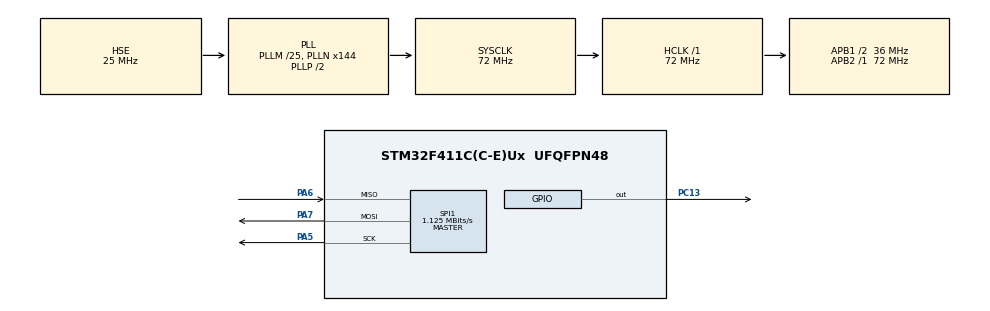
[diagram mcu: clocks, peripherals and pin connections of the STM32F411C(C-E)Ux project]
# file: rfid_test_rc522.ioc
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Mcu.Family=STM32F4
Mcu.Name=STM32F411C(C-E)Ux
Mcu.Package=UFQFPN48
NVIC.PriorityGroup=NVIC_PRIORITYGROUP_4
NVIC.SPI1_IRQn=true\:0\:0\:false\:false\:true\:true\:true\:true
NVIC.TIM2_IRQn=true\:0\:0\:false\:false\:true\:true\:true\:true
PA13.Mode=Serial_Wire
PA13.Signal=SYS_JTMS-SWDIO
PA14.Mode=Serial_Wire
PA14.Signal=SYS_JTCK-SWCLK
PA4.Signal=SPI1_NSS
PA5.Mode=Full_Duplex_Master
PA5.Signal=SPI1_SCK
PA6.Mode=Full_Duplex_Master
PA6.Signal=SPI1_MISO
PA7.Mode=Full_Duplex_Master
PA7.Signal=SPI1_MOSI
PC13-ANTI_TAMP.Signal=GPIO_Output
PH0\ -\ OSC_IN.Mode=HSE-External-Oscillator
PH0\ -\ OSC_IN.Signal=RCC_OSC_IN
PH1\ -\ OSC_OUT.Mode=HSE-External-Oscillator
PH1\ -\ OSC_OUT.Signal=RCC_OSC_OUT
ProjectManager.HeapSize=0x200
ProjectManager.StackSize=0x400
ProjectManager.TargetToolchain=STM32CubeIDE
RCC.48MHZClocksFreq_Value=36000000
RCC.AHBFreq_Value=72000000
RCC.APB1CLKDivider=RCC_HCLK_DIV2
RCC.APB1Freq_Value=36000000
RCC.APB1TimFreq_Value=72000000
RCC.APB2Freq_Value=72000000
RCC.APB2TimFreq_Value=72000000
RCC.CortexFreq_Value=72000000
RCC.HCLKFreq_Value=72000000
RCC.HSE_VALUE=25000000
RCC.HSI_VALUE=16000000
RCC.LSE_VALUE=32768
RCC.PLLM=25
RCC.PLLN=144
RCC.PLLSourceVirtual=RCC_PLLSOURCE_HSE
RCC.SYSCLKFreq_VALUE=72000000
RCC.SYSCLKSource=RCC_SYSCLKSOURCE_PLLCLK
RCC.VCOOutputFreq_Value=144000000
SPI1.BaudRatePrescaler=SPI_BAUDRATEPRESCALER_64
SPI1.CalculateBaudRate=1.125 MBits/s
SPI1.Direction=SPI_DIRECTION_2LINES
SPI1.FirstBit=SPI_FIRSTBIT_MSB
SPI1.Mode=SPI_MODE_MASTER
SPI1.VirtualType=VM_MASTER
TIM2.Period=1999
TIM2.Prescaler=720
VP_TIM2_VS_ClockSourceINT.Mode=Internal
board=custom

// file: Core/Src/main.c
/* USER CODE BEGIN Header */
/**
  ******************************************************************************
  * @file           : main.c
  * @brief          : Main program body
  ******************************************************************************
  * @attention
  *
  * Copyright (c) 2023 STMicroelectronics.
  * All rights reserved.
  *
  * This software is licensed under terms that can be found in the LICENSE file
  * in the root directory of this software component.
  * If no LICENSE file comes with this software, it is provided AS-IS.
  *
  ******************************************************************************
  */
/* USER CODE END Header */
#include "main.h"

/* USER CODE BEGIN Includes */
#include "stm32f4xx_hal.h"
#include "tm_stm32f4_mfrc522.h"
/* USER CODE END Includes */

SPI_HandleTypeDef hspi1;

TIM_HandleTypeDef htim2;

/* USER CODE BEGIN PV */

uint8_t dataUDP_permit[]="Ma the hop le ";
uint8_t dataUDP_deny[]="Ma the khong hop le ";
unsigned char CardID[5];
unsigned char MyID1[5] =  {0x96, 0x46, 0x38, 0x12, 0xfa};	//My card 1on my keys
unsigned char MyID2[5] =  {0x88, 0x04, 0xfa, 0xef, 0x99};	//My card 2on my keys
unsigned char MyID3[5] =  {0xea, 0x2b, 0x26, 0xa3, 0x44};	//My card 3on my keys
unsigned char MyID[5] =  {0x3b, 0x48, 0x36, 0xcc, 0x89};	//My card 4on my keys

uint8_t status;

uint8_t MFRC522_Check(uint8_t* id);
uint8_t MFRC522_Compare(uint8_t* CardID, uint8_t* CompareID);
void MFRC522_WriteRegister(uint8_t addr, uint8_t val);
uint8_t MFRC522_ReadRegister(uint8_t addr);
void MFRC522_SetBitMask(uint8_t reg, uint8_t mask);
void MFRC522_ClearBitMask(uint8_t reg, uint8_t mask);
uint8_t MFRC522_Request(uint8_t reqMode, uint8_t* TagType);
uint8_t MFRC522_ToCard(uint8_t command, uint8_t* sendData, uint8_t sendLen, uint8_t* backData, uint16_t* backLen);
uint8_t MFRC522_Anticoll(uint8_t* serNum);
void MFRC522_CalulateCRC(uint8_t* pIndata, uint8_t len, uint8_t* pOutData);
uint8_t MFRC522_SelectTag(uint8_t* serNum);
uint8_t MFRC522_Auth(uint8_t authMode, uint8_t BlockAddr, uint8_t* Sectorkey, uint8_t* serNum);
uint8_t MFRC522_Read(uint8_t blockAddr, uint8_t* recvData);
uint8_t MFRC522_Write(uint8_t blockAddr, uint8_t* writeData);
void MFRC522_Init(void);
void MFRC522_Reset(void);
void MFRC522_AntennaOn(void);
void MFRC522_AntennaOff(void);
void MFRC522_Halt(void);

/* USER CODE END PV */

void SystemClock_Config(void);
static void MX_GPIO_Init(void);
static void MX_SPI1_Init(void);
static void MX_TIM2_Init(void);

int main(void)
{

  /* MCU Configuration--------------------------------------------------------*/

  /* Reset of all peripherals, Initializes the Flash interface and the Systick. */
  HAL_Init();

  /* Configure the system clock */
  SystemClock_Config();

  /* Initialize all configured peripherals */
  MX_GPIO_Init();
  MX_SPI1_Init();
  MX_TIM2_Init();
  /* USER CODE BEGIN 2 */
  MFRC522_Init();

  HAL_Delay(1000);

  /* USER CODE END 2 */

  /* Infinite loop */
  /* USER CODE BEGIN WHILE */

  while (1)
  {
	  status = MFRC522_Check(CardID);
	  HAL_Delay(100);
	  HAL_GPIO_TogglePin(GPIOC, GPIO_PIN_13);

    /* USER CODE END WHILE */

  }
}

void SystemClock_Config(void)
{
  RCC_OscInitTypeDef RCC_OscInitStruct = {0};
  RCC_ClkInitTypeDef RCC_ClkInitStruct = {0};

  /** Configure the main internal regulator output voltage
  */
  __HAL_RCC_PWR_CLK_ENABLE();
  __HAL_PWR_VOLTAGESCALING_CONFIG(PWR_REGULATOR_VOLTAGE_SCALE1);

  /** Initializes the RCC Oscillators according to the specified parameters
  * in the RCC_OscInitTypeDef structure.
  */
  RCC_OscInitStruct.OscillatorType = RCC_OSCILLATORTYPE_HSE;
  RCC_OscInitStruct.HSEState = RCC_HSE_ON;
  RCC_OscInitStruct.PLL.PLLState = RCC_PLL_ON;
  RCC_OscInitStruct.PLL.PLLSource = RCC_PLLSOURCE_HSE;
  RCC_OscInitStruct.PLL.PLLM = 25;
  RCC_OscInitStruct.PLL.PLLN = 144;
  RCC_OscInitStruct.PLL.PLLP = RCC_PLLP_DIV2;
  RCC_OscInitStruct.PLL.PLLQ = 4;
  if (HAL_RCC_OscConfig(&RCC_OscInitStruct) != HAL_OK)
  {
    Error_Handler();
  }

  /** Initializes the CPU, AHB and APB buses clocks
  */
  RCC_ClkInitStruct.ClockType = RCC_CLOCKTYPE_HCLK|RCC_CLOCKTYPE_SYSCLK
                              |RCC_CLOCKTYPE_PCLK1|RCC_CLOCKTYPE_PCLK2;
  RCC_ClkInitStruct.SYSCLKSource = RCC_SYSCLKSOURCE_PLLCLK;
  RCC_ClkInitStruct.AHBCLKDivider = RCC_SYSCLK_DIV1;
  RCC_ClkInitStruct.APB1CLKDivider = RCC_HCLK_DIV2;
  RCC_ClkInitStruct.APB2CLKDivider = RCC_HCLK_DIV1;

  if (HAL_RCC_ClockConfig(&RCC_ClkInitStruct, FLASH_LATENCY_2) != HAL_OK)
  {
    Error_Handler();
  }
}

static void MX_SPI1_Init(void)
{

  /* SPI1 parameter configuration*/
  hspi1.Instance = SPI1;
  hspi1.Init.Mode = SPI_MODE_MASTER;
  hspi1.Init.Direction = SPI_DIRECTION_2LINES;
  hspi1.Init.DataSize = SPI_DATASIZE_8BIT;
  hspi1.Init.CLKPolarity = SPI_POLARITY_LOW;
  hspi1.Init.CLKPhase = SPI_PHASE_1EDGE;
  hspi1.Init.NSS = SPI_NSS_SOFT;
  hspi1.Init.BaudRatePrescaler = SPI_BAUDRATEPRESCALER_64;
  hspi1.Init.FirstBit = SPI_FIRSTBIT_MSB;
  hspi1.Init.TIMode = SPI_TIMODE_DISABLE;
  hspi1.Init.CRCCalculation = SPI_CRCCALCULATION_DISABLE;
  hspi1.Init.CRCPolynomial = 10;
  if (HAL_SPI_Init(&hspi1) != HAL_OK)
  {
    Error_Handler();
  }

}

static void MX_TIM2_Init(void)
{

  TIM_ClockConfigTypeDef sClockSourceConfig = {0};
  TIM_MasterConfigTypeDef sMasterConfig = {0};

  htim2.Instance = TIM2;
  htim2.Init.Prescaler = 720;
  htim2.Init.CounterMode = TIM_COUNTERMODE_UP;
  htim2.Init.Period = 1999;
  htim2.Init.ClockDivision = TIM_CLOCKDIVISION_DIV1;
  htim2.Init.AutoReloadPreload = TIM_AUTORELOAD_PRELOAD_DISABLE;
  if (HAL_TIM_Base_Init(&htim2) != HAL_OK)
  {
    Error_Handler();
  }
  sClockSourceConfig.ClockSource = TIM_CLOCKSOURCE_INTERNAL;
  if (HAL_TIM_ConfigClockSource(&htim2, &sClockSourceConfig) != HAL_OK)
  {
    Error_Handler();
  }
  sMasterConfig.MasterOutputTrigger = TIM_TRGO_RESET;
  sMasterConfig.MasterSlaveMode = TIM_MASTERSLAVEMODE_DISABLE;
  if (HAL_TIMEx_MasterConfigSynchronization(&htim2, &sMasterConfig) != HAL_OK)
  {
    Error_Handler();
  }

}

static void MX_GPIO_Init(void)
{
  GPIO_InitTypeDef GPIO_InitStruct = {0};

  /* GPIO Ports Clock Enable */
  __HAL_RCC_GPIOC_CLK_ENABLE();
  __HAL_RCC_GPIOH_CLK_ENABLE();
  __HAL_RCC_GPIOA_CLK_ENABLE();

  /*Configure GPIO pin Output Level */
  HAL_GPIO_WritePin(GPIOC, GPIO_PIN_13, GPIO_PIN_RESET);

  /*Configure GPIO pin : PC13 */
  GPIO_InitStruct.Pin = GPIO_PIN_13;
  GPIO_InitStruct.Mode = GPIO_MODE_OUTPUT_PP;
  GPIO_InitStruct.Pull = GPIO_NOPULL;
  GPIO_InitStruct.Speed = GPIO_SPEED_FREQ_LOW;
  HAL_GPIO_Init(GPIOC, &GPIO_InitStruct);

}

void Error_Handler(void)
{
  __disable_irq();
  while (1)
  {
  }
}
